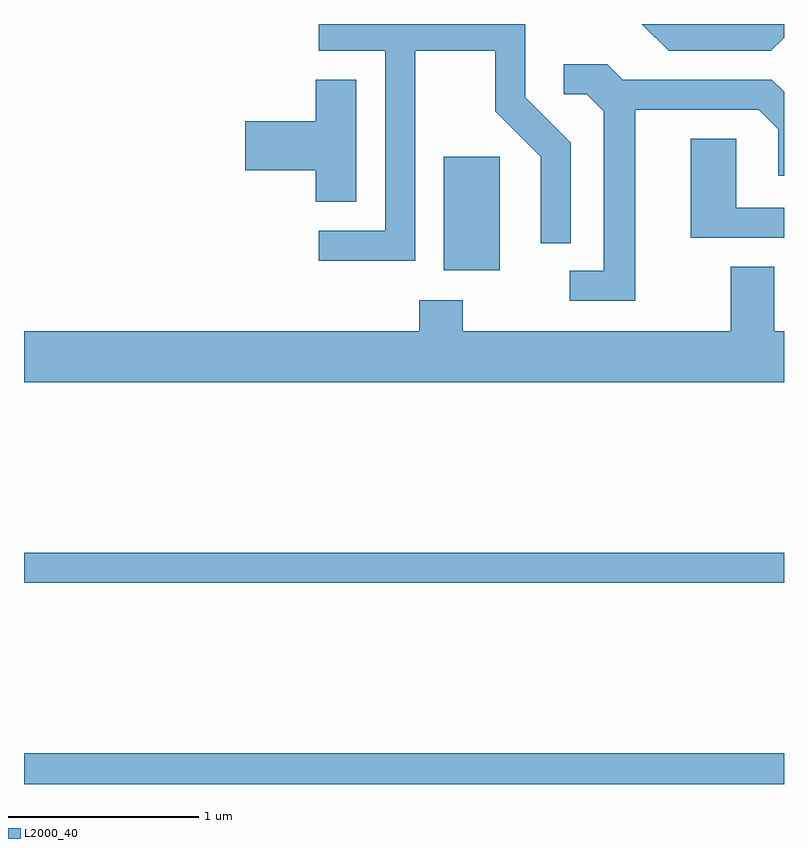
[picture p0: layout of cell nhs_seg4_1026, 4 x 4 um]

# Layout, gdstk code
import gdstk
lib = gdstk.Library(unit=1e-6, precision=1e-09)
def R(c, l, rs):  # rectangles x0, y0, x1, y1
    for r in rs: c.add(gdstk.rectangle(r[:2], r[2:], *l))
def P(c, l, *ps):  # polygons
    for p in ps: c.add(gdstk.Polygon(p, *l))
L2000_40 = (2000, 40)

nhs_seg4_1026 = lib.new_cell('nhs_seg4_1026')
R(nhs_seg4_1026, L2000_40, [(215.611,1265.982,219.611,1266.144), (215.611,1267.041,219.611,1267.199), (217.821,1268.686,218.114,1269.284)])
P(nhs_seg4_1026, L2000_40, [(217.669,1269.841),(218.091,1269.841),(218.091,1269.524),(218.331,1269.284),(218.331,1268.828),(218.489,1268.828),(218.489,1269.357),(218.249,1269.597),(218.249,1269.982),(217.163,1269.982),(217.163,1269.841),(217.511,1269.841),(217.511,1268.894),(217.163,1268.894),(217.163,1268.736),(217.669,1268.736)],
  [(219.611,1269.91),(219.611,1269.982),(218.863,1269.982),(219.004,1269.841),(219.542,1269.841)],
  [(218.829,1269.531),(219.479,1269.531),(219.581,1269.429),(219.581,1269.183),(219.611,1269.183),(219.611,1269.625),(219.547,1269.689),(218.762,1269.689),(218.682,1269.769),(218.453,1269.769),(218.453,1269.611),(218.574,1269.611),(218.661,1269.524),(218.661,1268.684),(218.483,1268.684),(218.483,1268.526),(218.829,1268.526)],
  [(217.359,1269.689),(217.146,1269.689),(217.146,1269.469),(216.776,1269.469),(216.776,1269.211),(217.146,1269.211),(217.146,1269.046),(217.359,1269.046)],
  [(219.611,1269.014),(219.359,1269.014),(219.359,1269.379),(219.121,1269.379),(219.121,1268.856),(219.611,1268.856)],
  [(219.611,1268.364),(219.559,1268.364),(219.559,1268.704),(219.331,1268.704),(219.331,1268.364),(217.919,1268.364),(217.919,1268.529),(217.691,1268.529),(217.691,1268.364),(215.611,1268.364),(215.611,1268.096),(219.611,1268.096)])

lib.write_gds('nhs_seg4_1026.gds')
